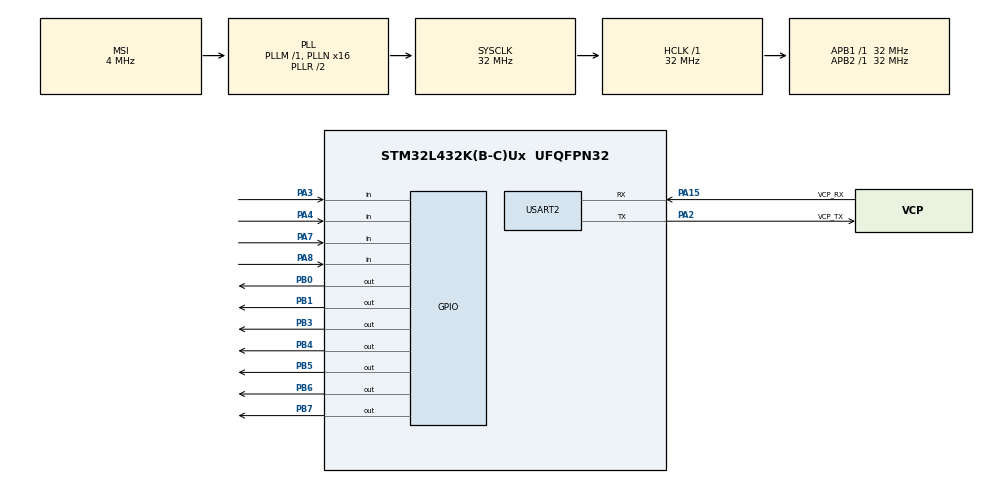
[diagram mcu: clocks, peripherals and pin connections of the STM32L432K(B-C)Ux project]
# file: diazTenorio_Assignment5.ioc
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Mcu.Family=STM32L4
Mcu.Name=STM32L432K(B-C)Ux
Mcu.Package=UFQFPN32
NVIC.PriorityGroup=NVIC_PRIORITYGROUP_4
PA0.GPIO_Label=MCO [High speed clock in]
PA0.Mode=HSE-External-Clock-Source-for-LittleOrca
PA0.Signal=RCC_CK_IN
PA13\ (JTMS-SWDIO).GPIO_Label=SWDIO
PA13\ (JTMS-SWDIO).Mode=Serial_Wire
PA13\ (JTMS-SWDIO).Signal=SYS_JTMS-SWDIO
PA14\ (JTCK-SWCLK).GPIO_Label=SWCLK
PA14\ (JTCK-SWCLK).Mode=Serial_Wire
PA14\ (JTCK-SWCLK).Signal=SYS_JTCK-SWCLK
PA15\ (JTDI).GPIO_Label=VCP_RX
PA15\ (JTDI).Mode=Asynchronous
PA15\ (JTDI).Signal=USART2_RX
PA2.GPIO_Label=VCP_TX
PA2.Mode=Asynchronous
PA2.Signal=USART2_TX
PA3.GPIO_PuPd=GPIO_PULLUP
PA3.Signal=GPIO_Input
PA4.GPIO_PuPd=GPIO_PULLUP
PA4.Signal=GPIO_Input
PA7.GPIO_PuPd=GPIO_PULLUP
PA7.Signal=GPIO_Input
PA8.GPIO_PuPd=GPIO_PULLUP
PA8.Signal=GPIO_Input
PB0.Signal=GPIO_Output
PB1.Signal=GPIO_Output
PB3\ (JTDO-TRACESWO).Signal=GPIO_Output
PB4\ (NJTRST).Signal=GPIO_Output
PB5.Signal=GPIO_Output
PB6.Signal=GPIO_Output
PB7.Signal=GPIO_Output
PC14-OSC32_IN\ (PC14).Mode=LSE-External-Oscillator
PC14-OSC32_IN\ (PC14).Signal=RCC_OSC32_IN
PC15-OSC32_OUT\ (PC15).Mode=LSE-External-Oscillator
PC15-OSC32_OUT\ (PC15).Signal=RCC_OSC32_OUT
ProjectManager.HeapSize=0x200
ProjectManager.StackSize=0x400
ProjectManager.TargetToolchain=STM32CubeIDE
RCC.AHBFreq_Value=32000000
RCC.APB1Freq_Value=32000000
RCC.APB1TimFreq_Value=32000000
RCC.APB2Freq_Value=32000000
RCC.APB2TimFreq_Value=32000000
RCC.CortexFreq_Value=32000000
RCC.HCLKFreq_Value=32000000
RCC.HSE_VALUE=8000000
RCC.HSI16_VALUE=16000000
RCC.HSI48_VALUE=48000000
RCC.HSI_VALUE=16000000
RCC.MSI_VALUE=4000000
RCC.PLLMUL=RCC_PLLMUL_4
RCC.PLLN=16
RCC.SYSCLKFreq_VALUE=32000000
RCC.SYSCLKSource=RCC_SYSCLKSOURCE_PLLCLK
RCC.VCOOutputFreq_Value=64000000
USART2.VirtualMode-Asynchronous=VM_ASYNC
board=NUCLEO-L432KC

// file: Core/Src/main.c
/* USER CODE BEGIN Header */
/*******************************************************************************
  * File Name          : main.c
  * Description        : it is a GPS data processor that depending on the user
  * 					 choice will print the Time, Latitude, Longitude and
  * 					 Altitude through serial port and to a LCD 16*2.
  *
  * Author:              Daniela Diaz Tenorio
  * Date:                April 21st 2020
  ******************************************************************************
  */

#include "main.h"

/* USER CODE BEGIN Includes */
#include "stdio.h"
#include "string.h"
#include "stdlib.h"
#include "stm32l4xx_hal.h"
#include "debounce.h"
/* USER CODE END Includes */

UART_HandleTypeDef huart2;

void SystemClock_Config(void);
static void MX_GPIO_Init(void);
static void MX_USART2_UART_Init(void);

/* USER CODE BEGIN 0 */
int8_t readPush(int16_t buttonsPin [], int8_t numberOfButtons, char port, int8_t mode);
void printLcdVcn(char printBuffer1[], char printBuffer2[]);

struct gpsData {
   char*  time;
   char*  latitude;
   char* latitudeM;
   char*  longitude;
   char*  longitudeM;
   char*  altitude;
   char*  altitudeM;
};
/* USER CODE END 0 */

int main(void)
{

  /* MCU Configuration--------------------------------------------------------*/

  /* Reset of all peripherals, Initializes the Flash interface and the Systick. */

	HAL_Init();

  /* Configure the system clock */
  SystemClock_Config();

  /* Initialize all configured peripherals */
  MX_GPIO_Init();
  MX_USART2_UART_Init();
  /* USER CODE BEGIN 2 */
  	HD44780_Init();

   //Initializing push buttons variables
   	char port = 'A';
   	int8_t mode = 0;
   	int16_t buttonsPin[] = {GPIO_PIN_3,GPIO_PIN_4,GPIO_PIN_7,GPIO_PIN_8};// pins for the PB
   	int8_t numberOfButtons = (sizeof(buttonsPin))/(sizeof(buttonsPin[0]));// number of PBs used

   	deBounceInit(buttonsPin[0], port, mode); //push1 PA3
   	deBounceInit(buttonsPin[1], port, mode); //push2 PA4
   	deBounceInit(buttonsPin[2], port, mode); //push3 PA7
 	deBounceInit(buttonsPin[3], port, mode); //pushOK PA8

 	// initializing variables
	int8_t state = 1; //state machine state
	const int processingTime = 5000; //delay time when is processing
	char printBuffer [16] = { 0 };

	char stringData[73] = {0}; //input

	//stringData format examples:
	//{"$GPGGA,014729.10,4303.5753,N,08019.0810,W,1,6,1.761,214.682,M,0,M,0,*5D"}; //
	//$GPGGA,14732.4,4306.6233,N,8042.15,W,1,5,1.761,215.74,M,0,M,0,*5D

	struct gpsData message;
	int8_t position = 6;
	int8_t buttonPushed = 0; //which button is pressed

	float time = 0;
	int hours = 0;
	int minutes = 0;
	float seconds = 0;
	float latitude = 0;
	int degrees = 0;
	int minutess = 0;
	float decimal = 0;
	float longitude = 0;
	float altitude = 0;

  /* USER CODE END 2 */

  /* Infinite loop */
  /* USER CODE BEGIN WHILE */
  while (1)
  {

	  switch(state)
	  {
	  case 1: // Retreiving Data

		  printLcdVcn("Retrieving Data"," ");
		  scanf("%s",stringData); //waiting for data through putty
		  printf("%s \r\n",stringData);

		  state = 2;

	  break;

	  case 2:// Processing Data (split data)

		    printLcdVcn("Processing Data..."," ");

			const char *delim = ",";

			message.time = strtok(stringData,delim);
			message.time = strtok(NULL,delim);

			message.latitude = strtok(NULL,delim);
			message.latitudeM = strtok(NULL,delim);

			message.longitude = strtok(NULL,delim);
			message.longitudeM = strtok(NULL,delim);

			while( position < 10)
			{

				if(position == 9){
					message.altitude = strtok(NULL,delim);
					message.altitudeM = strtok(NULL,delim);
				}
				else
				{
					message.altitudeM = strtok(NULL,delim);
				}

					position ++;
			}

		    HAL_Delay(processingTime);

		    state = 3;

		  break;

	  case 3: //task selection
		  printLcdVcn("1)Time,2)Latitu", "3)Longi,4)Altitu");
		  buttonPushed = readPush(buttonsPin, numberOfButtons, port, mode);//wait for PB

		  switch (buttonPushed){ //which PB was pressed
		  	  case 0: //PB 1
		  		  	 state = 4;
			  break;
		  	  case 1: //PB 2
		  		  	  state = 5;
		  	  break;
		  	  case 2: //PB 3
		  		  	  state = 6;
			  break;
		  	  case 3: //PB 4
		  		      state =7;
		  	  break;
		  }

	  break;

	  case 4://Time

		time = atof(message.time);
		hours = time/10000;
		minutes = (time - (hours*10000))/100;
		seconds = (time - (hours*10000)-(minutes*100));

		sprintf(printBuffer," %dh %dm %2.2fs",hours, minutes, seconds);
		printLcdVcn("Time:" ,printBuffer);

		HAL_Delay(processingTime); //wait for 5 sec

		state = 3; //go to Task selection

	 break;

	  case 5://latitude

		latitude = atoff(message.latitude);
		degrees = latitude/100;
		minutess = latitude - (degrees*100);
		decimal = (latitude - ((degrees*100)+minutess))*10000;
		sprintf(printBuffer," %dd %dm %.0fdd",degrees, minutess, decimal);
		printLcdVcn("Latitude:",printBuffer);

		HAL_Delay(processingTime); //wait for 5 sec

		state = 3; // go to Task selection

	  break;

	  case 6://Longitude

        longitude = atof(message.longitude);
        degrees = longitude/100;
        minutess = longitude - (degrees*100);
        decimal = (longitude - ((degrees*100)+minutess))*10000;
		sprintf(printBuffer," %dd %dm %4.0fdd",degrees, minutess, decimal);
		printLcdVcn("longitude:",printBuffer);

		HAL_Delay(processingTime);//wait for 5 sec

		state=3; //go to task selection

      break;

	  case 7: //Altitude
		  altitude = atof(message.altitude);
		  sprintf(printBuffer, " %.3f meter",altitude);
		  printLcdVcn("Altitude", printBuffer);

		  HAL_Delay(processingTime); //wait for 5 sec

		  state= 3; //go to task selection
	  break;
	  }
    /* USER CODE END WHILE */

  }
}

void SystemClock_Config(void)
{
  RCC_OscInitTypeDef RCC_OscInitStruct = {0};
  RCC_ClkInitTypeDef RCC_ClkInitStruct = {0};
  RCC_PeriphCLKInitTypeDef PeriphClkInit = {0};

  /** Configure LSE Drive Capability
  */
  HAL_PWR_EnableBkUpAccess();
  __HAL_RCC_LSEDRIVE_CONFIG(RCC_LSEDRIVE_LOW);
  /** Initializes the CPU, AHB and APB busses clocks
  */
  RCC_OscInitStruct.OscillatorType = RCC_OSCILLATORTYPE_LSE|RCC_OSCILLATORTYPE_MSI;
  RCC_OscInitStruct.LSEState = RCC_LSE_ON;
  RCC_OscInitStruct.MSIState = RCC_MSI_ON;
  RCC_OscInitStruct.MSICalibrationValue = 0;
  RCC_OscInitStruct.MSIClockRange = RCC_MSIRANGE_6;
  RCC_OscInitStruct.PLL.PLLState = RCC_PLL_ON;
  RCC_OscInitStruct.PLL.PLLSource = RCC_PLLSOURCE_MSI;
  RCC_OscInitStruct.PLL.PLLM = 1;
  RCC_OscInitStruct.PLL.PLLN = 16;
  RCC_OscInitStruct.PLL.PLLP = RCC_PLLP_DIV7;
  RCC_OscInitStruct.PLL.PLLQ = RCC_PLLQ_DIV2;
  RCC_OscInitStruct.PLL.PLLR = RCC_PLLR_DIV2;
  if (HAL_RCC_OscConfig(&RCC_OscInitStruct) != HAL_OK)
  {
    Error_Handler();
  }
  /** Initializes the CPU, AHB and APB busses clocks
  */
  RCC_ClkInitStruct.ClockType = RCC_CLOCKTYPE_HCLK|RCC_CLOCKTYPE_SYSCLK
                              |RCC_CLOCKTYPE_PCLK1|RCC_CLOCKTYPE_PCLK2;
  RCC_ClkInitStruct.SYSCLKSource = RCC_SYSCLKSOURCE_PLLCLK;
  RCC_ClkInitStruct.AHBCLKDivider = RCC_SYSCLK_DIV1;
  RCC_ClkInitStruct.APB1CLKDivider = RCC_HCLK_DIV1;
  RCC_ClkInitStruct.APB2CLKDivider = RCC_HCLK_DIV1;

  if (HAL_RCC_ClockConfig(&RCC_ClkInitStruct, FLASH_LATENCY_1) != HAL_OK)
  {
    Error_Handler();
  }
  PeriphClkInit.PeriphClockSelection = RCC_PERIPHCLK_USART2;
  PeriphClkInit.Usart2ClockSelection = RCC_USART2CLKSOURCE_PCLK1;
  if (HAL_RCCEx_PeriphCLKConfig(&PeriphClkInit) != HAL_OK)
  {
    Error_Handler();
  }
  /** Configure the main internal regulator output voltage
  */
  if (HAL_PWREx_ControlVoltageScaling(PWR_REGULATOR_VOLTAGE_SCALE1) != HAL_OK)
  {
    Error_Handler();
  }
  /** Enable MSI Auto calibration
  */
  HAL_RCCEx_EnableMSIPLLMode();
}

static void MX_USART2_UART_Init(void)
{

  huart2.Instance = USART2;
  huart2.Init.BaudRate = 115200;
  huart2.Init.WordLength = UART_WORDLENGTH_8B;
  huart2.Init.StopBits = UART_STOPBITS_1;
  huart2.Init.Parity = UART_PARITY_NONE;
  huart2.Init.Mode = UART_MODE_TX_RX;
  huart2.Init.HwFlowCtl = UART_HWCONTROL_NONE;
  huart2.Init.OverSampling = UART_OVERSAMPLING_16;
  huart2.Init.OneBitSampling = UART_ONE_BIT_SAMPLE_DISABLE;
  huart2.AdvancedInit.AdvFeatureInit = UART_ADVFEATURE_NO_INIT;
  if (HAL_UART_Init(&huart2) != HAL_OK)
  {
    Error_Handler();
  }

}

static void MX_GPIO_Init(void)
{
  GPIO_InitTypeDef GPIO_InitStruct = {0};

  /* GPIO Ports Clock Enable */
  __HAL_RCC_GPIOC_CLK_ENABLE();
  __HAL_RCC_GPIOA_CLK_ENABLE();
  __HAL_RCC_GPIOB_CLK_ENABLE();

  /*Configure GPIO pin Output Level */
  HAL_GPIO_WritePin(GPIOB, GPIO_PIN_0|GPIO_PIN_1|GPIO_PIN_3|GPIO_PIN_4
                          |GPIO_PIN_5|GPIO_PIN_6|GPIO_PIN_7, GPIO_PIN_RESET);

  /*Configure GPIO pins : PA3 PA4 PA7 PA8 */
  GPIO_InitStruct.Pin = GPIO_PIN_3|GPIO_PIN_4|GPIO_PIN_7|GPIO_PIN_8;
  GPIO_InitStruct.Mode = GPIO_MODE_INPUT;
  GPIO_InitStruct.Pull = GPIO_PULLUP;
  HAL_GPIO_Init(GPIOA, &GPIO_InitStruct);

  /*Configure GPIO pins : PB0 PB1 PB3 PB4
                           PB5 PB6 PB7 */
  GPIO_InitStruct.Pin = GPIO_PIN_0|GPIO_PIN_1|GPIO_PIN_3|GPIO_PIN_4
                          |GPIO_PIN_5|GPIO_PIN_6|GPIO_PIN_7;
  GPIO_InitStruct.Mode = GPIO_MODE_OUTPUT_PP;
  GPIO_InitStruct.Pull = GPIO_NOPULL;
  GPIO_InitStruct.Speed = GPIO_SPEED_FREQ_LOW;
  HAL_GPIO_Init(GPIOB, &GPIO_InitStruct);

}

/* USER CODE BEGIN 4 */
/*
  * FUNCTION           : readPush
  * DESCRIPTION        : read and identify which PB was pressed.
  *
  * PARAMETERS		   : int16_t buttonsPin[]: pin number initialized for the input.
  * 					 int8_t numberOfButtons : amount of buttons to consider.
  * 					 char port: port of the pin input.
  * 				     int8_t mode: mode of the pin input. 0 for Pullup and 1 Pulldown
  *
  * RETURN			   : int8_t button: the number of the PB pressed.
  */
int8_t readPush(int16_t buttonsPin [], int8_t numberOfButtons, char port, int8_t mode) {

int8_t button = 0;
int8_t pushContains [numberOfButtons];

for(int i = 0; i < numberOfButtons; i++)
{
	pushContains[i] = deBounceReadPin(buttonsPin[i], port, mode); // read PB 1
}

// check if a PB hasn't been pressed and is lower than the number of buttons
while(pushContains[button] && button < numberOfButtons)
		{
			pushContains[button] = deBounceReadPin(buttonsPin[button], port, mode);
			button ++;

			if(button == numberOfButtons) // restart the variable button
			{
			button = 0;
			}
		}

return button;
}

/*
  * FUNCTION           : printLcdVcn
  * DESCRIPTION        : Print values from 2 char arrays in the LCD and
  * 					 trough the serial port.
  *
  * PARAMETERS		   : char printBuffer1[]: the first line string to be printed.
  * 					 char printBuffer2[]: the second line string to be printed.
  *
  * RETURN			   : no return.
  */
void printLcdVcn(char printBuffer1[], char printBuffer2[])
{

//printing in the LCD
	HD44780_ClrScr();
	HD44780_GotoXY(0, 0);
	HD44780_PutStr(printBuffer1); //print LCD
	HD44780_GotoXY(0, 1);
	HD44780_PutStr(printBuffer2);

 //printing the same values through the serial port
	printf(printBuffer1);
	printf(" ");
	printf(printBuffer2);
	printf(" \r \n");

}

/* USER CODE END 4 */

void Error_Handler(void)
{
}

/************************ (C) COPYRIGHT STMicroelectronics *****END OF FILE****/
